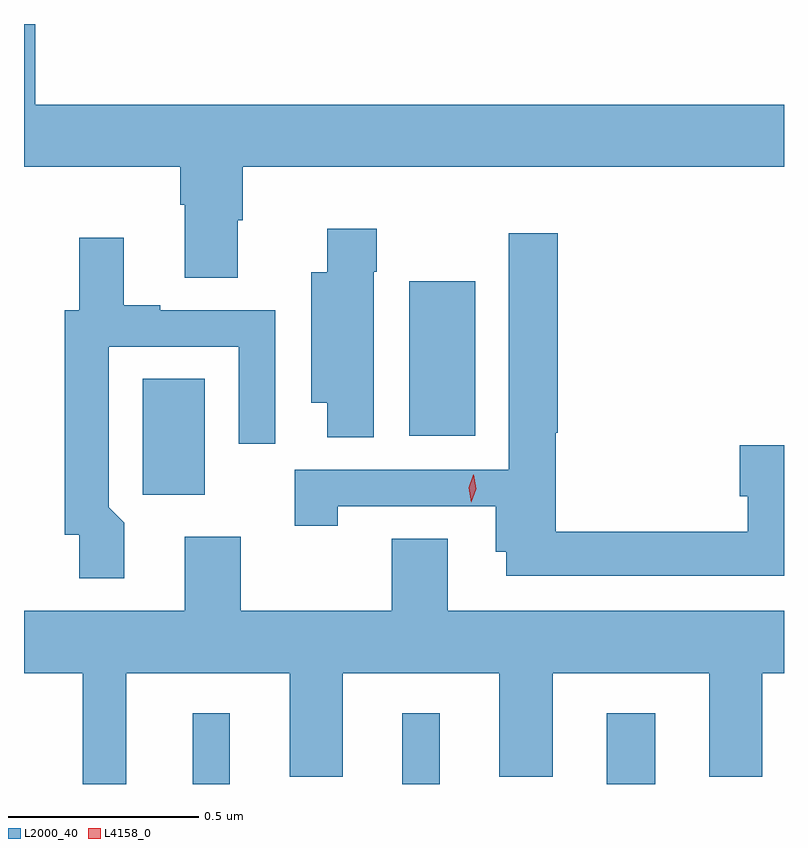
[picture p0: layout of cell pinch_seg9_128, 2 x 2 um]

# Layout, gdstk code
import gdstk
lib = gdstk.Library(unit=1e-6, precision=1e-09)
def R(c, l, rs):  # rectangles x0, y0, x1, y1
    for r in rs: c.add(gdstk.rectangle(r[:2], r[2:], *l))
def P(c, l, *ps):  # polygons
    for p in ps: c.add(gdstk.Polygon(p, *l))
L2000_40 = (2000, 40)
L4158_0 = (4158, 0)

pinch_seg9_128 = lib.new_cell('pinch_seg9_128')
R(pinch_seg9_128, L2000_40, [(814.58,1222.768,814.678,1222.954), (815.132,1222.768,815.23,1222.954), (815.669,1222.768,815.797,1222.954), (814.449,1223.529,814.612,1223.834), (815.15,1223.684,815.323,1224.091)])
P(pinch_seg9_128, L2000_40, [(814.699,1224.252),(814.712,1224.252),(814.712,1224.392),(816.136,1224.392),(816.136,1224.556),(814.166,1224.556),(814.166,1224.768),(814.136,1224.768),(814.136,1224.392),(814.547,1224.392),(814.547,1224.292),(814.559,1224.292),(814.559,1224.1),(814.699,1224.1)],
  [(815.056,1224.116),(815.064,1224.116),(815.064,1224.229),(814.934,1224.229),(814.934,1224.115),(814.892,1224.115),(814.892,1223.771),(814.934,1223.771),(814.934,1223.68),(815.056,1223.68)],
  [(816.136,1223.66),(816.019,1223.66),(816.019,1223.525),(816.041,1223.525),(816.041,1223.432),(815.535,1223.432),(815.535,1223.692),(815.54,1223.692),(815.54,1224.217),(815.411,1224.217),(815.411,1223.595),(814.848,1223.595),(814.848,1223.448),(814.961,1223.448),(814.961,1223.499),(815.378,1223.499),(815.378,1223.379),(815.405,1223.379),(815.405,1223.316),(816.136,1223.316)],
  [(814.4,1223.455),(814.359,1223.496),(814.359,1223.919),(814.701,1223.919),(814.701,1223.664),(814.797,1223.664),(814.797,1224.015),(814.495,1224.015),(814.495,1224.028),(814.399,1224.028),(814.399,1224.205),(814.282,1224.205),(814.282,1224.015),(814.243,1224.015),(814.243,1223.424),(814.282,1223.424),(814.282,1223.309),(814.4,1223.309)],
  [(814.405,1223.06),(814.835,1223.06),(814.835,1222.787),(814.975,1222.787),(814.975,1223.06),(815.387,1223.06),(815.387,1222.787),(815.527,1222.787),(815.527,1223.06),(815.939,1223.06),(815.939,1222.787),(816.079,1222.787),(816.079,1223.06),(816.136,1223.06),(816.136,1223.224),(815.251,1223.224),(815.251,1223.414),(815.104,1223.414),(815.104,1223.224),(814.707,1223.224),(814.707,1223.419),(814.559,1223.419),(814.559,1223.224),(814.136,1223.224),(814.136,1223.06),(814.291,1223.06),(814.291,1222.768),(814.405,1222.768)])
P(pinch_seg9_128, L4158_0, [(815.313,1223.51),(815.313,1223.51),(815.306,1223.547),(815.318,1223.582),(815.319,1223.582),(815.319,1223.582),(815.326,1223.545),(815.313,1223.51)])

lib.write_gds('pinch_seg9_128.gds')
